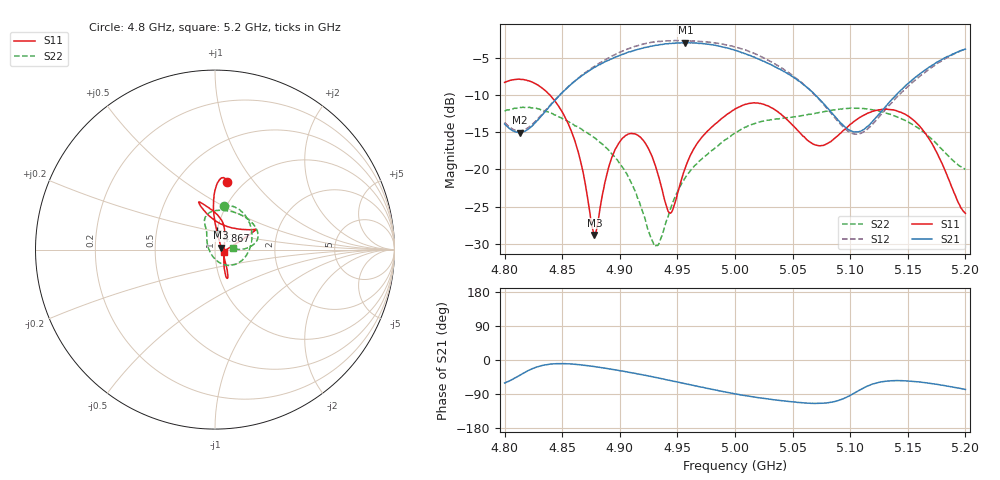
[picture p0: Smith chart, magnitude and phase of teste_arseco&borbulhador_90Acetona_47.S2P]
! Network Analyzer HP8722D
! Hewlett-Packard
! Data name: Linha & Wilkinson
! Saver's name: Rodrigo Anjos
! Comments: Teste da utilização de aquisição
! continua pelo VNA HP8722D
! Time and date: 17/4/2025 11:26
!  Frequency  S11  S21  S12  S22
# HZ  S  MA R 50
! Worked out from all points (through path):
!   401 points, 4.8 GHz to 5.2 GHz, reference 50 ohm
!   highest |S21| = -2.97 dB at 4.957 GHz (marker M1); lowest = -15.0 dB at 4.813 GHz (marker M2)
!   lowest |S11| = -28.8 dB at 4.878 GHz (marker M3), VSWR 1.08, Z = 53.6 + j1.11 ohm
!   |S11| at or under -10 dB: 4.839 GHz to end of sweep
!   |S22| runs from -30.3 to -11.6 dB; largest |S21 - S12| = 1.4
!   S11 on the Smith chart (normalised r, x): 4.8 GHz: 0.84, +0.75; 4.867 GHz: 1.00, +0.21; 5.2 GHz: 1.10, -0.03
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4.8e9  0.3842 79.7  0.2021 -60.8  0.207 74.3  0.2461 78.5
4.813e9  0.4039 83.7  0.177 -40.4  0.1818 92.9  0.2619 67.7
4.845e9  0.2788 91.6  0.2982 -9.7  0.3006 123.0  0.2308 28.3
4.857e9  0.1887 91.8  0.3691 -10.2  0.3704 124.1  0.2053 10.8
4.867e9  0.1044 84.6  0.4264 -13.2  0.4294 123.3  0.186 -4.2
4.878e9  0.0363 16.5  0.4848 -17.4  0.4915 121.1  0.1632 -21.0
4.892e9  0.1136 -55.9  0.5511 -23.7  0.5697 116.5  0.1306 -41.0
4.904e9  0.1661 -64.5  0.5988 -30.2  0.6283 111.6  0.09944 -57.8
4.92e9  0.1582 -67.8  0.6517 -39.4  0.6957 102.8  0.05157 -91.1
4.929e9  0.1165 -63.8  0.675 -44.6  0.7177 97.4  0.03229 -136.1
4.934e9  0.08809 -55.7  0.6857 -48.0  0.7252 94.0  0.03176 -174.5
4.944e9  0.05087 -0.5  0.7013 -54.3  0.7315 87.6  0.05456 141.8
4.957e9  0.1036 58.4  0.7101 -62.5  0.7314 79.3  0.08844 121.6
4.972e9  0.1673 77.0  0.7005 -72.0  0.7208 69.8  0.1194 113.9
5e9  0.2546 102.9  0.6316 -89.5  0.6662 51.5  0.1767 109.6
5.028e9  0.2684 108.9  0.5188 -102.6  0.5444 36.2  0.2142 93.6
5.067e9  0.1496 80.8  0.3322 -114.3  0.3303 26.2  0.2358 59.4
5.081e9  0.1505 55.3  0.2552 -112.7  0.2512 29.5  0.2483 45.5
5.104e9  0.212 31.8  0.1787 -86.6  0.1728 57.5  0.2578 26.6
5.134e9  0.2528 25.9  0.2827 -55.0  0.2699 91.0  0.2357 11.2
5.164e9  0.1798 21.5  0.4587 -59.4  0.4434 88.2  0.1777 2.6
5.2e9  0.05084 -16.7  0.6428 -77.8  0.6451 71.2  0.1002 4.8
